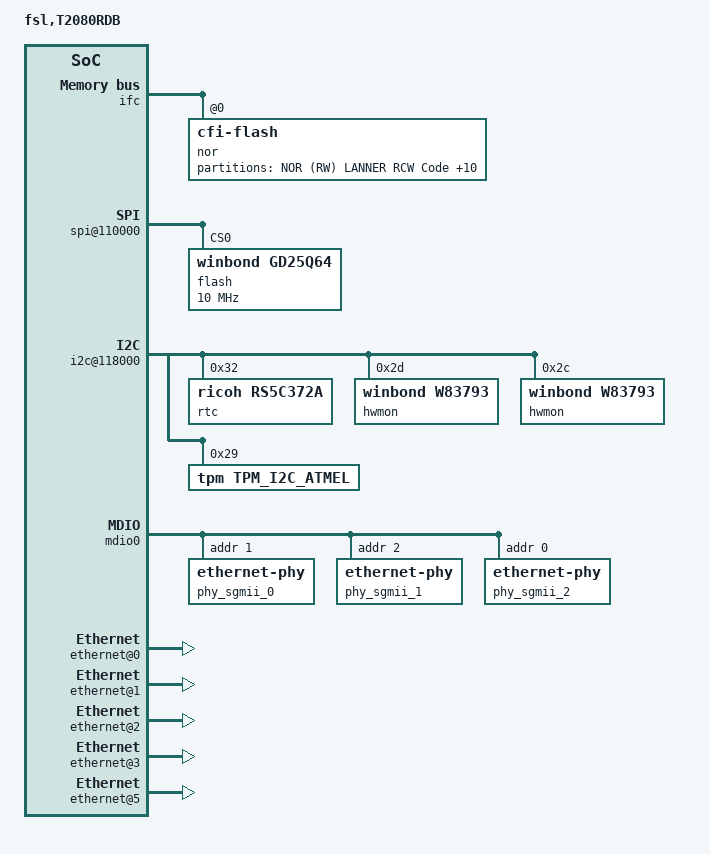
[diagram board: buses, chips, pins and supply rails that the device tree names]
/*
 * T2080PCIe-RDB Board Device Tree Source
 *
 * Copyright 2014 - 2015 Freescale Semiconductor Inc.
 *
 * Redistribution and use in source and binary forms, with or without
 * modification, are permitted provided that the following conditions are met:
 *     * Redistributions of source code must retain the above copyright
 *	 notice, this list of conditions and the following disclaimer.
 *     * Redistributions in binary form must reproduce the above copyright
 *	 notice, this list of conditions and the following disclaimer in the
 *	 documentation and/or other materials provided with the distribution.
 *     * Neither the name of Freescale Semiconductor nor the
 *	 names of its contributors may be used to endorse or promote products
 *	 derived from this software without specific prior written permission.
 *
 *
 * ALTERNATIVELY, this software may be distributed under the terms of the
 * GNU General Public License ("GPL") as published by the Free Software
 * Foundation, either version 2 of that License or (at your option) any
 * later version.
 *
 * THIS SOFTWARE IS PROVIDED BY Freescale Semiconductor "AS IS" AND ANY
 * EXPRESS OR IMPLIED WARRANTIES, INCLUDING, BUT NOT LIMITED TO, THE IMPLIED
 * WARRANTIES OF MERCHANTABILITY AND FITNESS FOR A PARTICULAR PURPOSE ARE
 * DISCLAIMED. IN NO EVENT SHALL Freescale Semiconductor BE LIABLE FOR ANY
 * DIRECT, INDIRECT, INCIDENTAL, SPECIAL, EXEMPLARY, OR CONSEQUENTIAL DAMAGES
 * (INCLUDING, BUT NOT LIMITED TO, PROCUREMENT OF SUBSTITUTE GOODS OR SERVICES;
 * LOSS OF USE, DATA, OR PROFITS; OR BUSINESS INTERRUPTION) HOWEVER CAUSED AND
 * ON ANY THEORY OF LIABILITY, WHETHER IN CONTRACT, STRICT LIABILITY, OR TORT
 * (INCLUDING NEGLIGENCE OR OTHERWISE) ARISING IN ANY WAY OUT OF THE USE OF THIS
 * SOFTWARE, EVEN IF ADVISED OF THE POSSIBILITY OF SUCH DAMAGE.
 */

/include/ "t208xsi-pre.dtsi"
/include/ "t208xrdb.dtsi"

/ {
	model = "fsl,T2080RDB";
	compatible = "fsl,T2080RDB";
	#address-cells = <2>;
	#size-cells = <2>;
	interrupt-parent = <&mpic>;

	aliases {
		phy_sgmii_0 = &phy_sgmii_0;
		phy_sgmii_1 = &phy_sgmii_1;
		phy_sgmii_2 = &phy_sgmii_2;
	};

	rio: rapidio@ffe0c0000 {
		reg = <0xf 0xfe0c0000 0 0x11000>;

		port1 {
			ranges = <0 0 0xc 0x20000000 0 0x10000000>;
		};
		port2 {
			ranges = <0 0 0xc 0x30000000 0 0x10000000>;
		};
	};

	ifc: localbus@ffe124000 {
		reg = <0xf 0xfe124000 0 0x2000>;
		ranges = <0 0 0xf 0xefc00000 0x00400000>;

		nor@0,0 {
			#address-cells = <1>;
			#size-cells = <1>;
			compatible = "cfi-flash";
			reg = <0x0 0x0 0x400000>;
			bank-width = <2>;
			device-width = <1>;

			partition@00000000 {
				/*64KB*/
				reg = <0x00000000 0x00010000>;
				label = "NOR (RW) LANNER RCW Code";
			};

			partition@00010000 {
				/*128KB*/
				reg = <0x00010000 0x00020000>;
				label = "NOR (RW) WG CFG0";
			};

			partition@00030000 {
				/*64KB*/
				reg = <0x00030000 0x00010000>;
				label = "NOR (RW) WG CFG1";
			};

			partition@00040000 {
				/*64KB*/
				reg = <0x00040000 0x00010000>;
				label = "NOR (RW) WG MFG DATA";
			};

			partition@00050000 {
				/*704KB*/
				reg = <0x00050000 0x000B0000>;
				label = "NOR (RW) WG bootOpt Data & reserved";
			};

			partition@00100000 {
				/*704KB*/
				reg = <0x00100000 0x000B0000>;
				label = "NOR (RW) WG extra reserved 1";
			};

			partition@001B0000 {
				/*64KB*/
				reg = <0x001B0000 0x000B0000>;
				label = "NOR (RW) WG extra reserved 2";
			};

			partition@00260000 {
				/*768KB*/
				reg = <0x00260000 0x000C0000>;
				label = "NOR (RW) WG U-Boot FAILSAFE";
			};

			partition@00320000 {
				/*64KB*/
				reg = <0x00320000 0x00010000>;
				label = "NOR (RW) FMAN";
			};

			partition@00330000 {
				/*64KB*/
				reg = <0x00330000 0x00010000>;
				label = "NOR (RW) WG U-Boot ENV";
			};

			partition@00340000 {
				/*768KB*/
				reg = <0x00340000 0x000C0000>;
				label = "NOR (RW) WG U-Boot Image";
			};

		};

	};
};

&soc {
	spi@110000 {
		flash@0 {
			#address-cells = <1>;
			#size-cells = <1>;
			compatible = "winbond,gd25q64";
			reg = <0>;
			spi-max-frequency = <10000000>; /* input clock */
		};

	};

	i2c@118000 {
                rtc@32 {
                        compatible = "ricoh,rs5c372a";
                        reg = <0x32>;
                };
                hwmon@2d {
                        compatible = "winbond,w83793";
                        reg = <0x2d>;
                };
                hwmon@2c {
                        compatible = "winbond,w83793";
                        reg = <0x2c>;
                };
		tpm@29 {
                        compatible = "tpm,tpm_i2c_atmel";
                        reg = <0x29>;
		};
	};

	sdhc@114000 {
		voltage-ranges = <1800 1800 3300 3300>;
	};

	fman@400000 {
		sleep = <&rcpm 0x00000008>;

		ethernet@e0000 {
			phy-handle = <&phy_sgmii_0>;
			phy-connection-type = "sgmii";
		};

		ethernet@e2000 {
			phy-handle = <&phy_sgmii_1>;
			phy-connection-type = "sgmii";
		};

		ethernet@e4000 {
			fixed-link = <0x10 1 1000 0 0>;
			phy-connection-type = "rgmii";
		};

		ethernet@e6000 {
			fixed-link = <4 1 1000 0 0>;
			phy-connection-type = "rgmii";
		};

		ethernet@f2000 {
			phy-handle = <&phy_sgmii_2>;
			phy-connection-type = "sgmii";
			sleep = <&rcpm 0x00000008>;
			/* HARD Coded to get around the u-boot fixup */
			mac-address = [ 00 90 7f d2 09 52 ];
			local-mac-address = [ 00 90 7f d2 09 52 ];
		};

		mdio0: mdio@fc000 {
                                phy_sgmii_0: ethernet-phy@01 {
                                        reg = <0x01>;
                                };      
                                phy_sgmii_1: ethernet-phy@02 {
                                        reg = <0x02>;
                                };      
                                phy_sgmii_2: ethernet-phy@03 {
                                        reg = <0x00>;
                                }; 
		};

	};

	fsldpaa: fsl,dpaa {
		compatible = "simple-bus", "fsl,dpaa";
		ethernet@0 {
			compatible = "fsl,dpa-ethernet";
			fsl,fman-mac = <&enet7>;
		};
		ethernet@1 {
			compatible = "fsl,dpa-ethernet";
			fsl,fman-mac = <&enet0>;
		};
		ethernet@2 {
			compatible = "fsl,dpa-ethernet";
			fsl,fman-mac = <&enet1>;
		};
		ethernet@3 {
			compatible = "fsl,dpa-ethernet";
			fsl,fman-mac = <&enet2>;
		};
		ethernet@5 {
			compatible = "fsl,dpa-ethernet";
			fsl,fman-mac = <&enet3>;
		};
	};
};

&bportals {
	bman-portal@28000 {
		cell-index = <0xa>;
	};

	bman-portal@2c000 {
		cell-index = <0xb>;
	};

	bman-portal@30000 {
		cell-index = <0xc>;
	};

	bman-portal@34000 {
		cell-index = <0xd>;
	};

	bman-portal@38000 {
		cell-index = <0xe>;
	};

	bman-portal@3c000 {
		cell-index = <0xf>;
	};

	bman-portal@40000 {
		cell-index = <0x10>;
	};

	bman-portal@44000 {
		cell-index = <0x11>;
	};
};

/include/ "m300-post.dtsi"

/include/ "qoriq-fman3-0-sdk.dtsi"
/include/ "qoriq-bman-portals-sdk.dtsi"
/include/ "qoriq-qman3-portals-sdk.dtsi"
/include/ "qoriq-qman3-ceetm0-32-sdk.dtsi"
